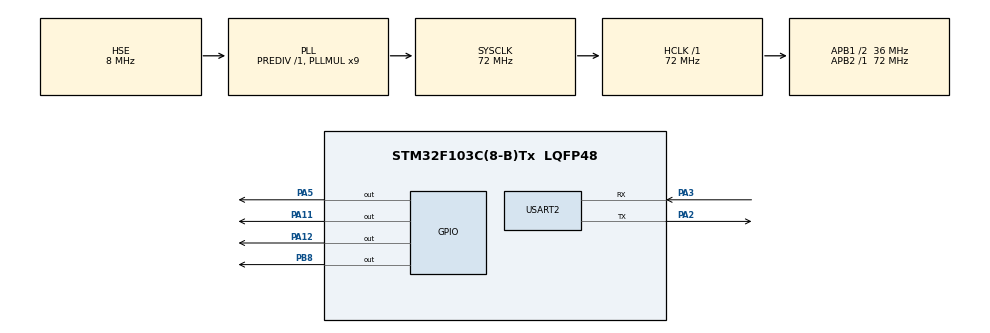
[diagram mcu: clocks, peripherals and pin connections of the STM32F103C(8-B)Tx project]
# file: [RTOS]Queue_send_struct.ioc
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FREERTOS.Tasks01=defaultTask,24,128,StartDefaultTask,Default,NULL,Dynamic,NULL,NULL;blinkLed2,8,128,StartTask02,Default,NULL,Dynamic,NULL,NULL;bilnkLed1,8,128,StartTask01,Default,NULL,Dynamic,NULL,NULL;UART2,8,128,StartTask03,Default,NULL,Dynamic,NULL,NULL
Mcu.Family=STM32F1
Mcu.Name=STM32F103C(8-B)Tx
Mcu.Package=LQFP48
NVIC.PriorityGroup=NVIC_PRIORITYGROUP_4
PA11.Signal=GPIO_Output
PA12.Signal=GPIO_Output
PA13.Mode=Serial_Wire
PA13.Signal=SYS_JTMS-SWDIO
PA14.Mode=Serial_Wire
PA14.Signal=SYS_JTCK-SWCLK
PA2.Mode=Asynchronous
PA2.Signal=USART2_TX
PA3.Mode=Asynchronous
PA3.Signal=USART2_RX
PA5.Signal=GPIO_Output
PB8.Signal=GPIO_Output
PD0-OSC_IN.Mode=HSE-External-Oscillator
PD0-OSC_IN.Signal=RCC_OSC_IN
PD1-OSC_OUT.Mode=HSE-External-Oscillator
PD1-OSC_OUT.Signal=RCC_OSC_OUT
ProjectManager.HeapSize=0x200
ProjectManager.StackSize=0x400
ProjectManager.TargetToolchain=STM32CubeIDE
RCC.AHBFreq_Value=72000000
RCC.APB1CLKDivider=RCC_HCLK_DIV2
RCC.APB1Freq_Value=36000000
RCC.APB1TimFreq_Value=72000000
RCC.APB2Freq_Value=72000000
RCC.APB2TimFreq_Value=72000000
RCC.HCLKFreq_Value=72000000
RCC.PLLMUL=RCC_PLL_MUL9
RCC.PLLSourceVirtual=RCC_PLLSOURCE_HSE
RCC.SYSCLKFreq_VALUE=72000000
RCC.SYSCLKSource=RCC_SYSCLKSOURCE_PLLCLK
RCC.USBFreq_Value=72000000
USART2.VirtualMode=VM_ASYNC
VP_FREERTOS_VS_CMSIS_V2.Mode=CMSIS_V2
board=custom

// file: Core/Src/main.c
/* USER CODE BEGIN Header */
/**
  ******************************************************************************
  * @file           : main.c
  * @brief          : Main program body
  ******************************************************************************
  * @attention
	Sử dụng queue để truyền đi struct với trường eDataSource_t thể hiện nguồn của data đến từ các luồng khác nhau.
  *
  ******************************************************************************
  */
/* USER CODE END Header */
#include "main.h"
#include "cmsis_os.h"

/* USER CODE BEGIN Includes */
#include "string.h"
#include "stdio.h"
#include "queue.h"
#include "timers.h"
/* USER CODE END Includes */
#include "myLib.h"
#include "myRTOSaddons.h"
/* USER CODE BEGIN PTD */

/* Typedef Enum */
typedef enum
{
  eChargePoint_1 = 0x00,
  eChargePoint_2,
  eChargePoint_3,
  eChargePoint_4,
  eChargePoint_5,
  eChargePoint_6,
  eGateway
} eDataSource_t;

typedef enum
{
  eState_Idle = 0x00,
  eState_Charging,
  eState_Maintainance,
  eState_Emergency
} eWorkingState_t;
/* Define struct sent by queue */

/**
 * This struct contains device properties including: pc_sw_version, working state
 *
 */
typedef struct
{
  char *pc_sw_version;
  eWorkingState_t u8_working_state;
} DeviceProperties_t;

/**
 * @brief This struct includes all information from a specific device
 *
 */
typedef struct
{
  eDataSource_t e_data_source;
  DeviceProperties_t *t_device_property;
} DeviceInfo_t;
/* USER CODE END PTD */

/* USER CODE BEGIN PM */

#define QUEUE_SIZE (7UL)
#define NUMBER_OF_DEVICES (7UL)
#define SEND_FREQ (1000UL)
#define SEND_FREQ_MIN (500UL)
#define SEND_FREQ_MAX (2000UL)
#define RECEIVE_FREQ (500UL)
/* USER CODE END PM */

/* Definitions for defaultTask */

/* Definitions for blinkLed1 */
osThreadId_t blinkLed1Handle;
const osThreadAttr_t blinkLed1_attributes = {
    .name = "blinkLed1",
    .priority = (osPriority_t)osPriorityLow3,
    .stack_size = 32 * 4};

/* Definitions Sender Task*/
osThreadId_t SenderHandle1;
osThreadId_t SenderHandle2;
osThreadId_t SenderHandle3;
osThreadId_t SenderHandle4;
osThreadId_t SenderHandle5;
osThreadId_t SenderHandle6;
osThreadId_t GatewayHandle;

const osThreadAttr_t Sender_attributes = {
    .name = "Sender",
    .priority = (osPriority_t)osPriorityLow5, /* Senser has the higher priority so Queue's always full of data */
    .stack_size = 128 * 4};

/* Definitions Receiver Task*/
osThreadId_t ReceiverHandle;
const osThreadAttr_t Receiver_attributes = {
    .name = "Receiver",
    .priority = (osPriority_t)osPriorityLow4,
    .stack_size = 128 * 4};

/* USER CODE BEGIN PV */
uint32_t error_count = 0;
UART_HandleTypeDef huart2;
char main_string[100];
osMessageQueueId_t queue_handle = NULL;
const char pc_working_state[4][13] = {
    {"IDLE"},
    {"CHARGING"},
    {"MAINTAINANCE"},
    {"EMERGENCY"},
};
/* Device Properties */
DeviceProperties_t t_device_property[NUMBER_OF_DEVICES];
/* Device Stack */
DeviceInfo_t t_device_info[NUMBER_OF_DEVICES] = {
    {eChargePoint_1, (DeviceProperties_t *)(t_device_property + 0)},
    {eChargePoint_2, (DeviceProperties_t *)(t_device_property + 1)},
    {eChargePoint_3, (DeviceProperties_t *)(t_device_property + 2)},
    {eChargePoint_4, (DeviceProperties_t *)(t_device_property + 3)},
    {eChargePoint_5, (DeviceProperties_t *)(t_device_property + 4)},
    {eChargePoint_6, (DeviceProperties_t *)(t_device_property + 5)},
    {eGateway, (DeviceProperties_t *)(t_device_property + 6)},
};

/* USER CODE END PV */

void SystemClock_Config(void);
static void MX_GPIO_Init(void);
static void MX_USART2_UART_Init(void);
void blinkTask(void *argument);
void senderTask(void *argument);
void receiverTask(void *argument);

/* Configure specific device properties */
void vSetDeviceData(DeviceProperties_t *p_device_properties, char *new_sw_version, eWorkingState_t new_working_state)
{
  p_device_properties->u8_working_state = new_working_state;
  if (!IS_SAME_STRING(new_sw_version, "None"))
  {
    p_device_properties->pc_sw_version = new_sw_version;
    return;
  }
  else
  {
    return;
  }
}

int main(void)
{

  /* MCU Configuration--------------------------------------------------------*/

  /* Reset of all peripherals, Initializes the Flash interface and the Systick. */
  HAL_Init();

  /* Configure the system clock */
  SystemClock_Config();

  /* Initialize all configured peripherals */
  MX_GPIO_Init();
  MX_USART2_UART_Init();
  /* USER CODE BEGIN 2 */
  HAL_GPIO_WritePin(GPIOA, GPIO_PIN_11, 1);
  HAL_GPIO_WritePin(GPIOA, GPIO_PIN_12, 1);
  /* USER CODE END 2 */

  /* Init scheduler */
  osKernelInitialize();

  /* USER CODE BEGIN RTOS_QUEUES */
  /* add queues, ... */
  queue_handle = osMessageQueueNew(QUEUE_SIZE, sizeof(DeviceInfo_t), NULL);
  if (queue_handle == NULL)
  {
    error_count++;
    PRINTF("Failed to create new queue\r\n");
  }
  /* USER CODE END RTOS_QUEUES */
  /* creation of blinkLed1 */
  blinkLed1Handle = osThreadNew(blinkTask, NULL, &blinkLed1_attributes);

  /* USER CODE BEGIN RTOS_THREADS */
  /* creation of Sender task*/

  SenderHandle1 = osThreadNew(senderTask, (void *)t_device_info, &Sender_attributes);
  SenderHandle2 = osThreadNew(senderTask, (void *)(t_device_info + 1), &Sender_attributes);
  SenderHandle3 = osThreadNew(senderTask, (void *)(t_device_info + 2), &Sender_attributes);
  SenderHandle4 = osThreadNew(senderTask, (void *)(t_device_info + 3), &Sender_attributes);
  SenderHandle5 = osThreadNew(senderTask, (void *)(t_device_info + 4), &Sender_attributes);
  SenderHandle6 = osThreadNew(senderTask, (void *)(t_device_info + 5), &Sender_attributes);
  GatewayHandle = osThreadNew(senderTask, (void *)(t_device_info + 6), &Sender_attributes);

  //Check if all tasks are created successful or not
  if ((SenderHandle1 == NULL) || (SenderHandle2 == NULL) || (SenderHandle3 == NULL) || (SenderHandle4 == NULL) || (SenderHandle5 == NULL) || (SenderHandle6 == NULL) || (GatewayHandle == NULL))
  {
    PRINTF("Failed to create senderTask\r\n");
    error_count++;
  }

  /* creation of Receiver task */
  ReceiverHandle = osThreadNew(receiverTask, NULL, &Receiver_attributes);
  if (ReceiverHandle == NULL)
  {
    PRINTF("Failed to create receiverTask");
    error_count++;
  }
  /* add threads, ... */

  /* USER CODE END RTOS_THREADS */

  /* Start scheduler */
  //If any error is counted, Kernel will not start
  if (error_count != 0)
  {
    PRINTF("Failed to start Kernel\r\n");
    PRINT_VAR(error_count);
  }
  else
  {
    /* Init value for data structure in use */
    vSetDeviceData((t_device_property+0), (char *)"0.0.11", eState_Idle);
    vSetDeviceData((t_device_property+1), (char *)"0.0.12", eState_Idle);
    vSetDeviceData((t_device_property+2), (char *)"0.0.13", eState_Charging);
    vSetDeviceData((t_device_property+3), (char *)"0.0.14", eState_Charging);
    vSetDeviceData((t_device_property+4), (char *)"0.0.15", eState_Maintainance);
    vSetDeviceData((t_device_property+5), (char *)"0.0.16", eState_Emergency);
    vSetDeviceData((t_device_property+6), (char *)"0.0.8", eState_Idle);
    PRINTF("Start RTOS_Kernel\r\n");
    osKernelStart();
  }
  /* We should never get here as control is now taken by the scheduler */
  /* Infinite loop */
  while (1)
  {

  }
}

void SystemClock_Config(void)
{
  RCC_OscInitTypeDef RCC_OscInitStruct = {0};
  RCC_ClkInitTypeDef RCC_ClkInitStruct = {0};

  /** Initializes the RCC Oscillators according to the specified parameters
  * in the RCC_OscInitTypeDef structure.
  */
  RCC_OscInitStruct.OscillatorType = RCC_OSCILLATORTYPE_HSE;
  RCC_OscInitStruct.HSEState = RCC_HSE_ON;
  RCC_OscInitStruct.HSEPredivValue = RCC_HSE_PREDIV_DIV1;
  RCC_OscInitStruct.HSIState = RCC_HSI_ON;
  RCC_OscInitStruct.PLL.PLLState = RCC_PLL_ON;
  RCC_OscInitStruct.PLL.PLLSource = RCC_PLLSOURCE_HSE;
  RCC_OscInitStruct.PLL.PLLMUL = RCC_PLL_MUL9;
  if (HAL_RCC_OscConfig(&RCC_OscInitStruct) != HAL_OK)
  {
    Error_Handler();
  }
  /** Initializes the CPU, AHB and APB buses clocks
  */
  RCC_ClkInitStruct.ClockType = RCC_CLOCKTYPE_HCLK | RCC_CLOCKTYPE_SYSCLK | RCC_CLOCKTYPE_PCLK1 | RCC_CLOCKTYPE_PCLK2;
  RCC_ClkInitStruct.SYSCLKSource = RCC_SYSCLKSOURCE_PLLCLK;
  RCC_ClkInitStruct.AHBCLKDivider = RCC_SYSCLK_DIV1;
  RCC_ClkInitStruct.APB1CLKDivider = RCC_HCLK_DIV2;
  RCC_ClkInitStruct.APB2CLKDivider = RCC_HCLK_DIV1;

  if (HAL_RCC_ClockConfig(&RCC_ClkInitStruct, FLASH_LATENCY_2) != HAL_OK)
  {
    Error_Handler();
  }
}

static void MX_USART2_UART_Init(void)
{

  huart2.Instance = USART2;
  huart2.Init.BaudRate = 115200;
  huart2.Init.WordLength = UART_WORDLENGTH_8B;
  huart2.Init.StopBits = UART_STOPBITS_1;
  huart2.Init.Parity = UART_PARITY_NONE;
  huart2.Init.Mode = UART_MODE_TX_RX;
  huart2.Init.HwFlowCtl = UART_HWCONTROL_NONE;
  huart2.Init.OverSampling = UART_OVERSAMPLING_16;
  if (HAL_UART_Init(&huart2) != HAL_OK)
  {
    Error_Handler();
  }
}

static void MX_GPIO_Init(void)
{
  GPIO_InitTypeDef GPIO_InitStruct = {0};

  /* GPIO Ports Clock Enable */
  __HAL_RCC_GPIOD_CLK_ENABLE();
  __HAL_RCC_GPIOA_CLK_ENABLE();
  __HAL_RCC_GPIOB_CLK_ENABLE();

  /*Configure GPIO pin Output Level */
  HAL_GPIO_WritePin(GPIOA, GPIO_PIN_5 | GPIO_PIN_11 | GPIO_PIN_12, GPIO_PIN_RESET);

  /*Configure GPIO pin Output Level */
  HAL_GPIO_WritePin(GPIOB, GPIO_PIN_8, GPIO_PIN_RESET);

  /*Configure GPIO pins : PA5 PA11 PA12 */
  GPIO_InitStruct.Pin = GPIO_PIN_5 | GPIO_PIN_11 | GPIO_PIN_12;
  GPIO_InitStruct.Mode = GPIO_MODE_OUTPUT_PP;
  GPIO_InitStruct.Pull = GPIO_NOPULL;
  GPIO_InitStruct.Speed = GPIO_SPEED_FREQ_LOW;
  HAL_GPIO_Init(GPIOA, &GPIO_InitStruct);

  /*Configure GPIO pin : PB8 */
  GPIO_InitStruct.Pin = GPIO_PIN_8;
  GPIO_InitStruct.Mode = GPIO_MODE_OUTPUT_PP;
  GPIO_InitStruct.Pull = GPIO_NOPULL;
  GPIO_InitStruct.Speed = GPIO_SPEED_FREQ_LOW;
  HAL_GPIO_Init(GPIOB, &GPIO_InitStruct);
}

/* USER CODE BEGIN 4 */

/**
 * @brief Sender Task
 *
 * @param argument
 */
void senderTask(void *argument)
{
  BaseType_t status;
  TickType_t send_freq = pdMS_TO_TICKS(SEND_FREQ);
  TickType_t block_time = pdMS_TO_TICKS(3000);
  DeviceInfo_t *t_data_to_send = (DeviceInfo_t *)argument;

  /* Infinite loop */
  for (;;)
  {
    newline;
    /* Random frequency to send data */
    PRINT_VAR_IN_TASK(send_freq);
    send_freq = RAND_U32(SEND_FREQ_MIN, SEND_FREQ_MAX);
    memset(main_string, 0, sizeof(main_string));
    sprintf(main_string, "ChargePoint number %d starts transfering data\r\n", t_data_to_send->e_data_source);
    PRINT_IN_TASK(main_string);
    status = xQueueSendToBack(queue_handle, (void *)t_data_to_send, block_time); /* If the queue is full, senderTask will be blocked for maximum block_time before return fail */
    if (status != pdPASS)
    {
      sprintf(main_string, "[QUEUE_FULL] ChargePoint number %d failed to transfer data\r\n", t_data_to_send->e_data_source);
      PRINT_IN_TASK(main_string);
    }

    osDelay(send_freq);
  }
}

/**
 * @brief Receiver Task
 *
 * @param argument
 */
void receiverTask(void *argument)
{
  DeviceInfo_t t_data_received; /* Create a variable to store data received from queue */
  BaseType_t status;
  TickType_t receive_freq = pdMS_TO_TICKS(RECEIVE_FREQ);
  uint8_t u8_nb_data_on_queue = 0;
  /* Infinite loop */
  for (;;)
  {
    newline;
    //Check number of data already on queue
    u8_nb_data_on_queue = (uint8_t)uxQueueMessagesWaiting(queue_handle);
    if (u8_nb_data_on_queue != 7)
    {
      PRINT_IN_TASK("[QUEUE_EMPTY]\r\n");
    }

    status = xQueueReceive(queue_handle, &t_data_received, 0);
    if (status != pdPASS)
    {
      PRINT_IN_TASK("[GET_QUEUE_FAILED]\r\n");
    }
    else /* When receive data successfully */
    {
      memset(main_string, 0, sizeof(main_string));
      switch (t_data_received.e_data_source)
      {
      case (eChargePoint_1):
        sprintf((main_string), "[GET_QUEUE_SUCCESS] ChargePoint: %d - FW_Version: %s - Working State: %s\n\n\r", t_data_received.e_data_source + 1, t_data_received.t_device_property->pc_sw_version, pc_working_state[t_data_received.t_device_property->u8_working_state]);
        break;
      case (eChargePoint_2):
        sprintf((main_string), "[GET_QUEUE_SUCCESS] ChargePoint: %d - FW_Version: %s - Working State: %s\n\n\r", t_data_received.e_data_source + 1, t_data_received.t_device_property->pc_sw_version, pc_working_state[t_data_received.t_device_property->u8_working_state]);
        break;
      case (eChargePoint_3):
        sprintf((main_string), "[GET_QUEUE_SUCCESS] ChargePoint: %d - FW_Version: %s - Working State: %s\n\n\r", t_data_received.e_data_source + 1, t_data_received.t_device_property->pc_sw_version, pc_working_state[t_data_received.t_device_property->u8_working_state]);
        break;
      case (eChargePoint_4):
        sprintf((main_string), "[GET_QUEUE_SUCCESS] ChargePoint: %d - FW_Version: %s - Working State: %s\n\n\r", t_data_received.e_data_source + 1, t_data_received.t_device_property->pc_sw_version, pc_working_state[t_data_received.t_device_property->u8_working_state]);
        break;
      case (eChargePoint_5):
        sprintf((main_string), "[GET_QUEUE_SUCCESS] ChargePoint: %d - FW_Version: %s - Working State: %s\n\n\r", t_data_received.e_data_source + 1, t_data_received.t_device_property->pc_sw_version, pc_working_state[t_data_received.t_device_property->u8_working_state]);
        break;
      case (eChargePoint_6):
        sprintf((main_string), "[GET_QUEUE_SUCCESS] ChargePoint: %d - FW_Version: %s - Working State: %s\n\n\r", t_data_received.e_data_source + 1, t_data_received.t_device_property->pc_sw_version, pc_working_state[t_data_received.t_device_property->u8_working_state]);
        break;
      case (eGateway):
        sprintf((main_string), "[GET_QUEUE_SUCCESS] ChargePoint: %d - FW_Version: %s - Working State: %s\n\n\r", t_data_received.e_data_source + 1, t_data_received.t_device_property->pc_sw_version, pc_working_state[t_data_received.t_device_property->u8_working_state]);
        break;
      default:
        sprintf((main_string), "Unknown data");
        break;
      }
      PRINT_IN_TASK(main_string);
    }
    osDelay(receive_freq);
  }
}

/* USER CODE END 4 */

void blinkTask(void *argument)
{
  /* USER CODE BEGIN blinkTask */
  /* Infinite loop */
  for (;;)
  {
    toggleLed4;
    osDelay(1000);
  }
  /* USER CODE END blinkTask */
}

void Error_Handler(void)
{
}

/************************ (C) COPYRIGHT STMicroelectronics *****END OF FILE****/
